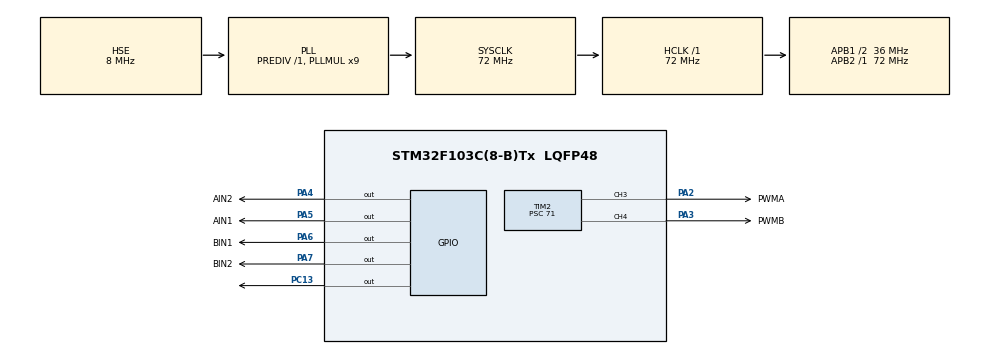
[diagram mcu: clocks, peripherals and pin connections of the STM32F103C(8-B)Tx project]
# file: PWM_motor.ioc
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Mcu.Family=STM32F1
Mcu.Name=STM32F103C(8-B)Tx
Mcu.Package=LQFP48
NVIC.PriorityGroup=NVIC_PRIORITYGROUP_4
PA13.Mode=Serial_Wire
PA13.Signal=SYS_JTMS-SWDIO
PA14.Mode=Serial_Wire
PA14.Signal=SYS_JTCK-SWCLK
PA2.GPIO_Label=PWMA
PA2.Signal=S_TIM2_CH3
PA3.GPIO_Label=PWMB
PA3.Signal=S_TIM2_CH4
PA4.GPIO_Label=AIN2
PA4.Signal=GPIO_Output
PA5.GPIO_Label=AIN1
PA5.Signal=GPIO_Output
PA6.GPIO_Label=BIN1
PA6.Signal=GPIO_Output
PA7.GPIO_Label=BIN2
PA7.Signal=GPIO_Output
PC13-TAMPER-RTC.GPIO_ModeDefaultOutputPP=GPIO_MODE_OUTPUT_OD
PC13-TAMPER-RTC.GPIO_PuPd=GPIO_NOPULL
PC13-TAMPER-RTC.PinState=GPIO_PIN_SET
PC13-TAMPER-RTC.Signal=GPIO_Output
PD0-OSC_IN.Mode=HSE-External-Oscillator
PD0-OSC_IN.Signal=RCC_OSC_IN
PD1-OSC_OUT.Mode=HSE-External-Oscillator
PD1-OSC_OUT.Signal=RCC_OSC_OUT
ProjectManager.HeapSize=0x200
ProjectManager.StackSize=0x400
ProjectManager.TargetToolchain=MDK-ARM V5.32
RCC.AHBFreq_Value=72000000
RCC.APB1CLKDivider=RCC_HCLK_DIV2
RCC.APB1Freq_Value=36000000
RCC.APB1TimFreq_Value=72000000
RCC.APB2Freq_Value=72000000
RCC.APB2TimFreq_Value=72000000
RCC.HCLKFreq_Value=72000000
RCC.PLLMUL=RCC_PLL_MUL9
RCC.PLLSourceVirtual=RCC_PLLSOURCE_HSE
RCC.SYSCLKFreq_VALUE=72000000
RCC.SYSCLKSource=RCC_SYSCLKSOURCE_PLLCLK
RCC.USBFreq_Value=72000000
SH.S_TIM2_CH3.0=TIM2_CH3,PWM Generation3 CH3
SH.S_TIM2_CH4.0=TIM2_CH4,PWM Generation4 CH4
TIM2.Channel-PWM\ Generation3\ CH3=TIM_CHANNEL_3
TIM2.Channel-PWM\ Generation4\ CH4=TIM_CHANNEL_4
TIM2.Period=99
TIM2.Prescaler=71
TIM2.Pulse-PWM\ Generation3\ CH3=20
VP_TIM2_VS_ClockSourceINT.Mode=Internal
board=custom

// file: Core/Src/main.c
/* USER CODE BEGIN Header */
/**
  ******************************************************************************
  * @file           : main.c
  * @brief          : Main program body
  ******************************************************************************
  * @attention
  *
  * <h2><center>&copy; Copyright (c) 2025 STMicroelectronics.
  * All rights reserved.</center></h2>
  *
  * This software component is licensed by ST under BSD 3-Clause license,
  * the "License"; You may not use this file except in compliance with the
  * License. You may obtain a copy of the License at:
  *                        opensource.org/licenses/BSD-3-Clause
  *
  ******************************************************************************
  */
/* USER CODE END Header */
#include "main.h"
#include "tim.h"
#include "gpio.h"

/* USER CODE BEGIN PV */
//int8_t Speed=0;
/* USER CODE END PV */

void SystemClock_Config(void);

/* USER CODE BEGIN 0 */

//电机A
void SetSpeedA(int8_t Speed)
{
	if(Speed>=0)
	{
	    HAL_GPIO_WritePin(GPIOA, GPIO_PIN_4, GPIO_PIN_SET);
	    HAL_GPIO_WritePin(GPIOA, GPIO_PIN_5, GPIO_PIN_RESET);
		__HAL_TIM_SET_COMPARE(&htim2, TIM_CHANNEL_3, Speed);
	}
	else
	{
	    HAL_GPIO_WritePin(GPIOA, GPIO_PIN_4, GPIO_PIN_RESET);
	    HAL_GPIO_WritePin(GPIOA, GPIO_PIN_5, GPIO_PIN_SET);
		__HAL_TIM_SET_COMPARE(&htim2, TIM_CHANNEL_3, -Speed);
	}
}

//电机B
void SetSpeedB(int8_t Speed)
{
    if(Speed >= 0) {
        HAL_GPIO_WritePin(GPIOA, GPIO_PIN_6, GPIO_PIN_SET);   // BIN1=H
        HAL_GPIO_WritePin(GPIOA, GPIO_PIN_7, GPIO_PIN_RESET); // BIN2=L
        __HAL_TIM_SET_COMPARE(&htim2, TIM_CHANNEL_4, Speed);
    } else {
        HAL_GPIO_WritePin(GPIOA, GPIO_PIN_6, GPIO_PIN_RESET);
        HAL_GPIO_WritePin(GPIOA, GPIO_PIN_7, GPIO_PIN_SET);
        __HAL_TIM_SET_COMPARE(&htim2, TIM_CHANNEL_4, -Speed);
    }
}
/* USER CODE END 0 */

int main(void)
{

  /* MCU Configuration--------------------------------------------------------*/

  /* Reset of all peripherals, Initializes the Flash interface and the Systick. */
  HAL_Init();

  /* Configure the system clock */
  SystemClock_Config();

  /* Initialize all configured peripherals */
  MX_GPIO_Init();
  MX_TIM2_Init();

  /* Infinite loop */
  /* USER CODE BEGIN WHILE */
//	/*ģ���ʼ��*/
//	OLED_Init();		//OLED��ʼ��

	// 先设零速安全状态
	SetSpeedA(0);
	SetSpeedB(0);

	HAL_TIM_PWM_Start(&htim2,TIM_CHANNEL_3);// PWMA
	HAL_TIM_PWM_Start(&htim2, TIM_CHANNEL_4);// PWMB

	SetSpeedA(30);// 电机A %占空比

	SetSpeedB(30);// 电机B %占空比
//	OLED_Clear();
//	OLED_ShowString(1, 1, "speed:");	//1��1����ʾ�ַ���speed��
//	/*OLED��ʾ*/

  while (1)
  {
//	if(HAL_GPIO_ReadPin(GPIOB,GPIO_PIN_1) == GPIO_PIN_RESET)
//	{
//		//��������
//		HAL_Delay(20);
//		while(HAL_GPIO_ReadPin(GPIOB, GPIO_PIN_1) == GPIO_PIN_RESET);
//		HAL_Delay(20);
//		Speed += 1;
//		if (Speed > 2)
//		{
//			Speed = -2;
//		}
//	}

//	HAL_GPIO_TogglePin(GPIOC, GPIO_PIN_13);
//  HAL_Delay(500);

	HAL_Delay(100);
//	OLED_ShowSignedNum(1, 7, Speed*50, 6);
    /* USER CODE END WHILE */

  }
}

void SystemClock_Config(void)
{
  RCC_OscInitTypeDef RCC_OscInitStruct = {0};
  RCC_ClkInitTypeDef RCC_ClkInitStruct = {0};

  /** Initializes the RCC Oscillators according to the specified parameters
  * in the RCC_OscInitTypeDef structure.
  */
  RCC_OscInitStruct.OscillatorType = RCC_OSCILLATORTYPE_HSE;
  RCC_OscInitStruct.HSEState = RCC_HSE_ON;
  RCC_OscInitStruct.HSEPredivValue = RCC_HSE_PREDIV_DIV1;
  RCC_OscInitStruct.HSIState = RCC_HSI_ON;
  RCC_OscInitStruct.PLL.PLLState = RCC_PLL_ON;
  RCC_OscInitStruct.PLL.PLLSource = RCC_PLLSOURCE_HSE;
  RCC_OscInitStruct.PLL.PLLMUL = RCC_PLL_MUL9;
  if (HAL_RCC_OscConfig(&RCC_OscInitStruct) != HAL_OK)
  {
    Error_Handler();
  }
  /** Initializes the CPU, AHB and APB buses clocks
  */
  RCC_ClkInitStruct.ClockType = RCC_CLOCKTYPE_HCLK|RCC_CLOCKTYPE_SYSCLK
                              |RCC_CLOCKTYPE_PCLK1|RCC_CLOCKTYPE_PCLK2;
  RCC_ClkInitStruct.SYSCLKSource = RCC_SYSCLKSOURCE_PLLCLK;
  RCC_ClkInitStruct.AHBCLKDivider = RCC_SYSCLK_DIV1;
  RCC_ClkInitStruct.APB1CLKDivider = RCC_HCLK_DIV2;
  RCC_ClkInitStruct.APB2CLKDivider = RCC_HCLK_DIV1;

  if (HAL_RCC_ClockConfig(&RCC_ClkInitStruct, FLASH_LATENCY_2) != HAL_OK)
  {
    Error_Handler();
  }
}

void Error_Handler(void)
{
  __disable_irq();
  while (1)
  {
  }
}

/************************ (C) COPYRIGHT STMicroelectronics *****END OF FILE****/
